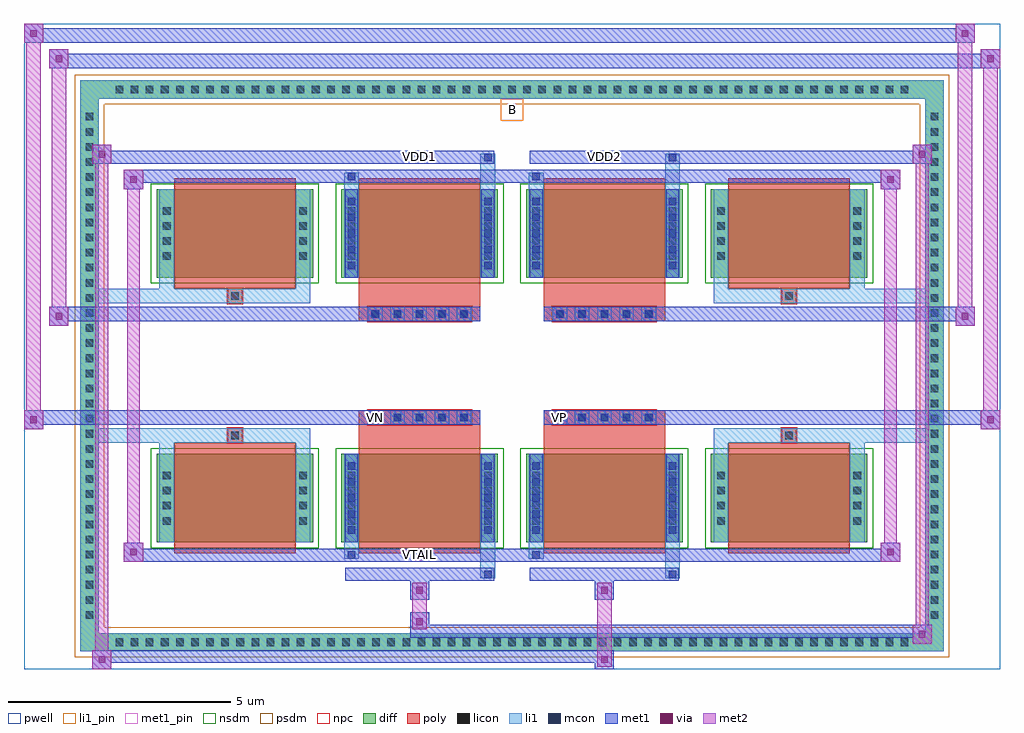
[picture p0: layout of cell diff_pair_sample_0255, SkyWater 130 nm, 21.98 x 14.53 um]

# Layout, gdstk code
import gdstk
lib = gdstk.Library(unit=1e-6, precision=5e-09)
def R(c, l, rs):  # rectangles x0, y0, x1, y1
    for r in rs: c.add(gdstk.rectangle(r[:2], r[2:], *l))
def A(c, l, x, y, w, h, nx, ny, dx, dy):  # array of equal rectangles
    R(c, l, [(x+i*dx, y+j*dy, x+i*dx+w, y+j*dy+h) for i in range(nx) for j in range(ny)])
def P(c, l, *ps):  # polygons
    for p in ps: c.add(gdstk.Polygon(p, *l))
pwell = (64, 44)
diff = (65, 20)
poly = (66, 20)
licon = (66, 44)
li1_pin = (67, 16)
li1 = (67, 20)
mcon = (67, 44)
met1_pin = (68, 16)
met1 = (68, 20)
via = (68, 44)
met2 = (69, 20)
nsdm = (93, 44)
psdm = (94, 20)
npc = (95, 20)

diff_pair_sample_0255 = lib.new_cell('diff_pair_sample_0255')
R(diff_pair_sample_0255, pwell, [(-10.99,-6.83,10.99,7.7), (-8.31,-5.02,-0.01,-0.8), (0.01,-5.02,8.31,-0.8), (-8.31,0.8,-0.01,5.02), (0.01,0.8,8.31,5.02)])
A(diff_pair_sample_0255, diff, -9.045, -6.43, 0.41, 0.41, 53, 2, 0.34, 12.45)
A(diff_pair_sample_0255, diff, -9.72, -5.815, 0.41, 0.41, 1, 34, 0, 0.34)
A(diff_pair_sample_0255, diff, 9.31, -5.815, 0.41, 0.41, 1, 34, 0, 0.34)
A(diff_pair_sample_0255, diff, -8, -3.975, 3.52, 1.99, 4, 2, 4.16, 5.96)
R(diff_pair_sample_0255, diff, [(-9.045,-6.43,9.045,-6.02), (-9.72,-5.815,-9.31,5.815), (9.31,-5.815,9.72,5.815), (-9.045,6.02,9.045,6.43)])
P(diff_pair_sample_0255, diff, [(9.72,6.43),(-9.72,6.43),(-9.72,-6.02),(-9.31,-6.02),(-9.31,6.02),(9.31,6.02),(9.31,-6.02),(-9.31,-6.02),(-9.72,-6.02),(-9.72,-6.43),(9.72,-6.43)])
A(diff_pair_sample_0255, poly, -7.61, -4.225, 2.74, 2.49, 4, 2, 4.16, 5.96)
A(diff_pair_sample_0255, poly, -3.245, -1.33, 0.33, 0.33, 5, 2, 0.5, 2.33)
A(diff_pair_sample_0255, poly, 0.915, -1.33, 0.33, 0.33, 5, 2, 0.5, 2.33)
R(diff_pair_sample_0255, poly, [(-6.405,-1.735,-6.075,-1.405), (-6.405,-1.735,-6.075,-1.405), (-3.45,-1.735,-0.71,-1.33), (0.71,-1.735,3.45,-1.33), (6.075,-1.735,6.405,-1.405), (6.075,-1.735,6.405,-1.405), (-3.45,-1.33,-0.71,-1), (0.71,-1.33,3.45,-1), (-3.45,1,-0.71,1.33), (0.71,1,3.45,1.33), (-3.45,1.33,-0.71,1.735), (0.71,1.33,3.45,1.735), (-6.405,1.405,-6.075,1.735), (-6.405,1.405,-6.075,1.735), (6.075,1.405,6.405,1.735), (6.075,1.405,6.405,1.735)])
A(diff_pair_sample_0255, licon, -8.925, -6.31, 0.17, 0.17, 53, 2, 0.34, 12.45)
A(diff_pair_sample_0255, licon, -9.6, -5.695, 0.17, 0.17, 1, 34, 0, 0.34)
A(diff_pair_sample_0255, licon, 9.43, -5.695, 0.17, 0.17, 1, 34, 0, 0.34)
A(diff_pair_sample_0255, licon, -7.86, -3.575, 0.17, 0.17, 1, 4, 0, 0.34)
A(diff_pair_sample_0255, licon, -4.79, -3.575, 0.17, 0.17, 1, 4, 0, 0.34)
A(diff_pair_sample_0255, licon, -3.7, -3.575, 0.17, 0.17, 1, 4, 0, 0.34)
A(diff_pair_sample_0255, licon, -0.63, -3.575, 0.17, 0.17, 1, 4, 0, 0.34)
A(diff_pair_sample_0255, licon, 0.46, -3.575, 0.17, 0.17, 1, 4, 0, 0.34)
A(diff_pair_sample_0255, licon, 3.53, -3.575, 0.17, 0.17, 1, 4, 0, 0.34)
A(diff_pair_sample_0255, licon, 4.62, -3.575, 0.17, 0.17, 1, 4, 0, 0.34)
A(diff_pair_sample_0255, licon, 7.69, -3.575, 0.17, 0.17, 1, 4, 0, 0.34)
A(diff_pair_sample_0255, licon, -3.165, -1.25, 0.17, 0.17, 5, 2, 0.5, 2.33)
A(diff_pair_sample_0255, licon, 0.995, -1.25, 0.17, 0.17, 5, 2, 0.5, 2.33)
A(diff_pair_sample_0255, licon, -7.86, 2.385, 0.17, 0.17, 1, 4, 0, 0.34)
A(diff_pair_sample_0255, licon, -4.79, 2.385, 0.17, 0.17, 1, 4, 0, 0.34)
A(diff_pair_sample_0255, licon, -3.7, 2.385, 0.17, 0.17, 1, 4, 0, 0.34)
A(diff_pair_sample_0255, licon, -0.63, 2.385, 0.17, 0.17, 1, 4, 0, 0.34)
A(diff_pair_sample_0255, licon, 0.46, 2.385, 0.17, 0.17, 1, 4, 0, 0.34)
A(diff_pair_sample_0255, licon, 3.53, 2.385, 0.17, 0.17, 1, 4, 0, 0.34)
A(diff_pair_sample_0255, licon, 4.62, 2.385, 0.17, 0.17, 1, 4, 0, 0.34)
A(diff_pair_sample_0255, licon, 7.69, 2.385, 0.17, 0.17, 1, 4, 0, 0.34)
R(diff_pair_sample_0255, licon, [(-6.325,-1.655,-6.155,-1.485), (6.155,-1.655,6.325,-1.485), (-6.325,1.485,-6.155,1.655), (6.155,1.485,6.325,1.655)])
R(diff_pair_sample_0255, li1_pin, [(-0.25,5.52,0.25,6.02)])
A(diff_pair_sample_0255, li1, -9.005, -6.39, 0.33, 0.33, 53, 2, 0.34, 12.45)
A(diff_pair_sample_0255, li1, -9.68, -5.775, 0.33, 0.33, 1, 34, 0, 0.34)
A(diff_pair_sample_0255, li1, 9.35, -5.775, 0.33, 0.33, 1, 34, 0, 0.34)
A(diff_pair_sample_0255, li1, -3.7, -3.785, 0.17, 0.17, 1, 5, 0, 0.36)
A(diff_pair_sample_0255, li1, -0.63, -3.785, 0.17, 0.17, 1, 5, 0, 0.36)
A(diff_pair_sample_0255, li1, 0.46, -3.785, 0.17, 0.17, 1, 5, 0, 0.36)
A(diff_pair_sample_0255, li1, 3.53, -3.785, 0.17, 0.17, 1, 5, 0, 0.36)
A(diff_pair_sample_0255, li1, -7.94, -3.655, 0.33, 0.33, 1, 4, 0, 0.34)
A(diff_pair_sample_0255, li1, -4.87, -3.655, 0.33, 0.33, 1, 4, 0, 0.34)
A(diff_pair_sample_0255, li1, -3.78, -3.655, 0.33, 0.33, 1, 4, 0, 0.34)
A(diff_pair_sample_0255, li1, -0.71, -3.655, 0.33, 0.33, 1, 4, 0, 0.34)
A(diff_pair_sample_0255, li1, 0.38, -3.655, 0.33, 0.33, 1, 4, 0, 0.34)
A(diff_pair_sample_0255, li1, 3.45, -3.655, 0.33, 0.33, 1, 4, 0, 0.34)
A(diff_pair_sample_0255, li1, 4.54, -3.655, 0.33, 0.33, 1, 4, 0, 0.34)
A(diff_pair_sample_0255, li1, 7.61, -3.655, 0.33, 0.33, 1, 4, 0, 0.34)
A(diff_pair_sample_0255, li1, -3.245, -1.33, 0.33, 0.33, 5, 2, 0.5, 2.33)
A(diff_pair_sample_0255, li1, 0.915, -1.33, 0.33, 0.33, 5, 2, 0.5, 2.33)
A(diff_pair_sample_0255, li1, -3.7, 2.175, 0.17, 0.17, 1, 5, 0, 0.36)
A(diff_pair_sample_0255, li1, -0.63, 2.175, 0.17, 0.17, 1, 5, 0, 0.36)
A(diff_pair_sample_0255, li1, 0.46, 2.175, 0.17, 0.17, 1, 5, 0, 0.36)
A(diff_pair_sample_0255, li1, 3.53, 2.175, 0.17, 0.17, 1, 5, 0, 0.36)
A(diff_pair_sample_0255, li1, -7.94, 2.305, 0.33, 0.33, 1, 4, 0, 0.34)
A(diff_pair_sample_0255, li1, -4.87, 2.305, 0.33, 0.33, 1, 4, 0, 0.34)
A(diff_pair_sample_0255, li1, -3.78, 2.305, 0.33, 0.33, 1, 4, 0, 0.34)
A(diff_pair_sample_0255, li1, -0.71, 2.305, 0.33, 0.33, 1, 4, 0, 0.34)
A(diff_pair_sample_0255, li1, 0.38, 2.305, 0.33, 0.33, 1, 4, 0, 0.34)
A(diff_pair_sample_0255, li1, 3.45, 2.305, 0.33, 0.33, 1, 4, 0, 0.34)
A(diff_pair_sample_0255, li1, 4.54, 2.305, 0.33, 0.33, 1, 4, 0, 0.34)
A(diff_pair_sample_0255, li1, 7.61, 2.305, 0.33, 0.33, 1, 4, 0, 0.34)
R(diff_pair_sample_0255, li1, [(-9.72,-6.43,-9.31,-6.02), (-9.72,-6.43,-9.31,-6.02), (-9.31,-6.43,9.31,-6.02), (9.31,-6.43,9.72,-6.02), (9.31,-6.43,9.72,-6.02), (-9.72,-6.02,-9.31,6.02), (9.31,-6.02,9.72,6.02), (-0.71,-4.78,-0.38,-3.975), (-0.63,-4.78,-0.46,-4.61), (3.45,-4.78,3.78,-3.975), (3.53,-4.78,3.7,-4.61), (-3.78,-4.35,-3.45,-3.975), (-3.7,-4.35,-3.53,-4.18), (0.38,-4.35,0.71,-3.975), (0.46,-4.35,0.63,-4.18), (-7.94,-3.975,-7.61,-1.985), (-4.87,-3.975,-4.54,-1.985), (-3.78,-3.975,-3.45,-1.985), (-0.71,-3.975,-0.38,-1.985), (0.38,-3.975,0.71,-1.985), (3.45,-3.975,3.78,-1.985), (4.54,-3.975,4.87,-1.985), (7.61,-3.975,7.94,-1.985), (-3.7,-3.785,-3.53,-2.175), (-0.63,-3.785,-0.46,-2.175), (0.46,-3.785,0.63,-2.175), (3.53,-3.785,3.7,-2.175), (-7.94,-1.985,-7.61,-1.405), (-4.87,-1.985,-4.54,-1.405), (4.54,-1.985,4.87,-1.405), (7.61,-1.985,7.94,-1.405), (-9.72,-1.735,-6.405,-1.405), (-7.94,-1.735,-6.405,-1.405), (-6.405,-1.735,-6.075,-1.405), (-6.075,-1.735,-4.54,-1.405), (4.54,-1.735,6.075,-1.405), (6.075,-1.735,6.405,-1.405), (6.075,-1.735,9.72,-1.405), (6.405,-1.735,7.94,-1.405), (-9.72,1.405,-6.405,1.735), (-7.94,1.405,-6.405,1.735), (-7.94,1.405,-7.61,1.985), (-6.405,1.405,-6.075,1.735), (-6.075,1.405,-4.54,1.735), (-4.87,1.405,-4.54,1.985), (4.54,1.405,6.075,1.735), (4.54,1.405,4.87,1.985), (6.075,1.405,6.405,1.735), (6.075,1.405,9.72,1.735), (6.405,1.405,7.94,1.735), (7.61,1.405,7.94,1.985), (-7.94,1.985,-7.61,3.975), (-4.87,1.985,-4.54,3.975), (-3.78,1.985,-3.45,3.975), (-0.71,1.985,-0.38,3.975), (0.38,1.985,0.71,3.975), (3.45,1.985,3.78,3.975), (4.54,1.985,4.87,3.975), (7.61,1.985,7.94,3.975), (-3.7,2.175,-3.53,3.785), (-0.63,2.175,-0.46,3.785), (0.46,2.175,0.63,3.785), (3.53,2.175,3.7,3.785), (-3.78,3.975,-3.45,4.35), (-0.71,3.975,-0.38,4.78), (0.38,3.975,0.71,4.35), (3.45,3.975,3.78,4.78), (-3.7,4.18,-3.53,4.35), (0.46,4.18,0.63,4.35), (-0.63,4.61,-0.46,4.78), (3.53,4.61,3.7,4.78), (-9.72,6.02,-9.31,6.43), (-9.72,6.02,-9.31,6.43), (-9.31,6.02,9.31,6.43), (9.31,6.02,9.72,6.43), (9.31,6.02,9.72,6.43)])
A(diff_pair_sample_0255, mcon, -3.7, -3.785, 0.17, 0.17, 1, 5, 0, 0.36)
A(diff_pair_sample_0255, mcon, -0.63, -3.785, 0.17, 0.17, 1, 5, 0, 0.36)
A(diff_pair_sample_0255, mcon, 0.46, -3.785, 0.17, 0.17, 1, 5, 0, 0.36)
A(diff_pair_sample_0255, mcon, 3.53, -3.785, 0.17, 0.17, 1, 5, 0, 0.36)
A(diff_pair_sample_0255, mcon, -3.165, -1.25, 0.17, 0.17, 5, 2, 0.5, 2.33)
A(diff_pair_sample_0255, mcon, 0.995, -1.25, 0.17, 0.17, 5, 2, 0.5, 2.33)
A(diff_pair_sample_0255, mcon, -3.7, 2.175, 0.17, 0.17, 1, 5, 0, 0.36)
A(diff_pair_sample_0255, mcon, -0.63, 2.175, 0.17, 0.17, 1, 5, 0, 0.36)
A(diff_pair_sample_0255, mcon, 0.46, 2.175, 0.17, 0.17, 1, 5, 0, 0.36)
A(diff_pair_sample_0255, mcon, 3.53, 2.175, 0.17, 0.17, 1, 5, 0, 0.36)
R(diff_pair_sample_0255, mcon, [(-0.63,-4.78,-0.46,-4.61), (3.53,-4.78,3.7,-4.61), (-3.7,-4.35,-3.53,-4.18), (0.46,-4.35,0.63,-4.18), (-3.7,4.18,-3.53,4.35), (0.46,4.18,0.63,4.35), (-0.63,4.61,-0.46,4.78), (3.53,4.61,3.7,4.78)])
R(diff_pair_sample_0255, met1_pin, [(-2.215,-4.39,-1.945,-4.12), (-3.215,-1.29,-2.945,-1.02), (0.945,-1.29,1.215,-1.02), (-2.215,4.57,-1.945,4.84), (1.945,4.57,2.215,4.84)])
A(diff_pair_sample_0255, met1, -3.76, -3.845, 0.29, 0.29, 1, 5, 0, 0.36)
A(diff_pair_sample_0255, met1, -0.69, -3.845, 0.29, 0.29, 1, 5, 0, 0.36)
A(diff_pair_sample_0255, met1, 0.4, -3.845, 0.29, 0.29, 1, 5, 0, 0.36)
A(diff_pair_sample_0255, met1, 3.47, -3.845, 0.29, 0.29, 1, 5, 0, 0.36)
A(diff_pair_sample_0255, met1, -3.225, -1.31, 0.29, 0.29, 5, 2, 0.5, 2.33)
A(diff_pair_sample_0255, met1, 0.935, -1.31, 0.29, 0.29, 5, 2, 0.5, 2.33)
A(diff_pair_sample_0255, met1, -3.76, 2.115, 0.29, 0.29, 1, 5, 0, 0.36)
A(diff_pair_sample_0255, met1, -0.69, 2.115, 0.29, 0.29, 1, 5, 0, 0.36)
A(diff_pair_sample_0255, met1, 0.4, 2.115, 0.29, 0.29, 1, 5, 0, 0.36)
A(diff_pair_sample_0255, met1, 3.47, 2.115, 0.29, 0.29, 1, 5, 0, 0.36)
R(diff_pair_sample_0255, met1, [(-9.45,-6.83,-9.02,-6.4), (1.865,-6.83,2.295,-6.4), (-9.45,-6.69,2.295,-6.4), (9.02,-6.26,9.45,-5.83), (-2.295,-6.12,9.45,-5.83), (-2.295,-5.98,-1.865,-5.55), (-2.295,-5.27,-1.865,-4.84), (1.865,-5.27,2.295,-4.84), (-3.76,-4.84,-0.4,-4.55), (-0.69,-4.84,-0.4,-4.55), (0.4,-4.84,3.76,-4.55), (3.47,-4.84,3.76,-4.55), (-8.74,-4.41,-8.31,-3.98), (-8.74,-4.41,-3.76,-4.12), (-3.76,-4.41,-3.47,-4.12), (-3.76,-4.41,-0.4,-4.12), (-0.4,-4.41,0.4,-4.12), (0.4,-4.41,0.69,-4.12), (0.4,-4.41,3.76,-4.12), (3.76,-4.41,8.74,-4.12), (8.31,-4.41,8.74,-3.98), (-3.76,-3.975,-3.47,-1.985), (-0.69,-3.975,-0.4,-1.985), (0.4,-3.975,0.69,-1.985), (3.47,-3.975,3.76,-1.985), (-10.99,-1.43,-10.56,-1), (10.56,-1.43,10.99,-1), (-10.99,-1.33,-0.71,-1), (-3.45,-1.33,-0.71,-1), (0.71,-1.33,3.45,-1), (0.71,-1.33,10.99,-1), (-10.42,0.9,-9.99,1.33), (9.99,0.9,10.42,1.33), (-10.42,1,-3.45,1.33), (-3.45,1,-0.71,1.33), (0.71,1,3.45,1.33), (3.45,1,10.42,1.33), (-3.76,1.985,-3.47,3.975), (-0.69,1.985,-0.4,3.975), (0.4,1.985,0.69,3.975), (3.47,1.985,3.76,3.975), (-8.74,3.98,-8.31,4.41), (8.31,3.98,8.74,4.41), (-8.74,4.12,-3.76,4.41), (-3.76,4.12,-3.47,4.41), (-3.76,4.12,-0.4,4.41), (-0.4,4.12,0.4,4.41), (0.4,4.12,0.69,4.41), (0.4,4.12,3.76,4.41), (3.76,4.12,8.74,4.41), (-9.45,4.55,-9.02,4.98), (-9.45,4.55,-3.76,4.84), (-3.76,4.55,-0.4,4.84), (-0.69,4.55,-0.4,4.84), (0.4,4.55,3.76,4.84), (3.47,4.55,3.76,4.84), (3.76,4.55,9.45,4.84), (9.02,4.55,9.45,4.98), (-10.42,6.7,-9.99,7.13), (-10.42,6.7,-8.31,7.03), (-8.31,6.7,8.31,7.03), (8.31,6.7,10.99,7.03), (10.56,6.7,10.99,7.13), (-10.99,7.27,-10.56,7.7), (-10.99,7.27,-8.31,7.6), (-8.31,7.27,8.31,7.6), (8.31,7.27,10.42,7.6), (9.99,7.27,10.42,7.7)])
R(diff_pair_sample_0255, via, [(-9.31,-6.69,-9.16,-6.54), (2.005,-6.69,2.155,-6.54), (9.16,-6.12,9.31,-5.97), (-2.155,-5.84,-2.005,-5.69), (-2.155,-5.13,-2.005,-4.98), (2.005,-5.13,2.155,-4.98), (-8.6,-4.27,-8.45,-4.12), (8.45,-4.27,8.6,-4.12), (-10.85,-1.29,-10.7,-1.14), (10.7,-1.29,10.85,-1.14), (-10.28,1.04,-10.13,1.19), (10.13,1.04,10.28,1.19), (-8.6,4.12,-8.45,4.27), (8.45,4.12,8.6,4.27), (-9.31,4.69,-9.16,4.84), (9.16,4.69,9.31,4.84), (-10.28,6.84,-10.13,6.99), (10.7,6.84,10.85,6.99), (-10.85,7.41,-10.7,7.56), (10.13,7.41,10.28,7.56)])
R(diff_pair_sample_0255, met2, [(-9.45,-6.83,-9.02,-6.4), (-9.38,-6.83,-9.09,4.98), (-9.09,-6.83,-9.02,-6.4), (-9.4,-6.78,-9.07,-6.45), (1.915,-6.78,2.245,-6.45), (1.915,-6.45,2.245,-5.22), (9.02,-6.26,9.45,-5.83), (9.09,-6.26,9.38,4.98), (9.38,-6.26,9.45,-5.83), (9.07,-6.21,9.4,-5.88), (-2.245,-5.93,-1.915,-5.6), (-2.245,-5.6,-1.915,-5.22), (-2.245,-5.22,-1.915,-4.89), (1.915,-5.22,2.245,-4.89), (-8.74,-4.41,-8.31,-3.98), (-8.67,-4.41,-8.38,4.41), (-8.38,-4.41,-8.31,-3.98), (8.31,-4.41,8.74,-3.98), (8.38,-4.41,8.67,4.41), (8.67,-4.41,8.74,-3.98), (-8.69,-4.36,-8.36,-4.03), (8.36,-4.36,8.69,-4.03), (-10.99,-1.43,-10.56,-1), (-10.94,-1.43,-10.61,7.7), (-10.61,-1.43,-10.56,-1), (10.56,-1.43,10.99,-1), (10.61,-1.43,10.94,7.13), (10.94,-1.43,10.99,-1), (-10.94,-1.38,-10.61,-1.05), (10.61,-1.38,10.94,-1.05), (-10.42,0.9,-9.99,1.33), (-10.37,0.9,-10.04,7.13), (-10.04,0.9,-9.99,1.33), (9.99,0.9,10.42,1.33), (10.04,0.9,10.37,7.7), (10.37,0.9,10.42,1.33), (-10.37,0.95,-10.04,1.28), (10.04,0.95,10.37,1.28), (-8.74,3.98,-8.31,4.41), (-8.38,3.98,-8.31,4.41), (8.31,3.98,8.74,4.41), (8.67,3.98,8.74,4.41), (-8.69,4.03,-8.36,4.36), (8.36,4.03,8.69,4.36), (-9.45,4.55,-9.02,4.98), (-9.09,4.55,-9.02,4.98), (9.02,4.55,9.45,4.98), (9.38,4.55,9.45,4.98), (-9.4,4.6,-9.07,4.93), (9.07,4.6,9.4,4.93), (-10.42,6.7,-9.99,7.13), (-10.04,6.7,-9.99,7.13), (10.56,6.7,10.99,7.13), (10.94,6.7,10.99,7.13), (-10.37,6.75,-10.04,7.08), (10.61,6.75,10.94,7.08), (-10.99,7.27,-10.56,7.7), (-10.61,7.27,-10.56,7.7), (9.99,7.27,10.42,7.7), (10.37,7.27,10.42,7.7), (-10.94,7.32,-10.61,7.65), (10.04,7.32,10.37,7.65)])
A(diff_pair_sample_0255, nsdm, -8.13, -4.105, 3.78, 2.25, 4, 2, 4.16, 5.96)
P(diff_pair_sample_0255, psdm, [(9.85,6.56),(-9.85,6.56),(-9.85,-5.89),(-9.18,-5.89),(-9.18,5.89),(9.18,5.89),(9.18,-5.89),(-9.18,-5.89),(-9.85,-5.89),(-9.85,-6.56),(9.85,-6.56)])
A(diff_pair_sample_0255, npc, -3.265, -1.35, 0.37, 0.37, 5, 2, 0.5, 2.33)
A(diff_pair_sample_0255, npc, 0.895, -1.35, 0.37, 0.37, 5, 2, 0.5, 2.33)
R(diff_pair_sample_0255, npc, [(-6.425,-1.755,-6.055,-1.385), (6.055,-1.755,6.425,-1.385), (-3.265,-1.35,-2.395,-0.98), (-3.265,-1.35,-2.395,-0.98), (-2.765,-1.35,-1.895,-0.98), (-2.765,-1.35,-1.895,-0.98), (-2.265,-1.35,-1.395,-0.98), (-2.265,-1.35,-1.395,-0.98), (-1.765,-1.35,-0.895,-0.98), (-1.765,-1.35,-0.895,-0.98), (0.895,-1.35,1.765,-0.98), (0.895,-1.35,1.765,-0.98), (1.395,-1.35,2.265,-0.98), (1.395,-1.35,2.265,-0.98), (1.895,-1.35,2.765,-0.98), (1.895,-1.35,2.765,-0.98), (2.395,-1.35,3.265,-0.98), (2.395,-1.35,3.265,-0.98), (-3.265,0.98,-2.395,1.35), (-3.265,0.98,-2.395,1.35), (-2.765,0.98,-1.895,1.35), (-2.765,0.98,-1.895,1.35), (-2.265,0.98,-1.395,1.35), (-2.265,0.98,-1.395,1.35), (-1.765,0.98,-0.895,1.35), (-1.765,0.98,-0.895,1.35), (0.895,0.98,1.765,1.35), (0.895,0.98,1.765,1.35), (1.395,0.98,2.265,1.35), (1.395,0.98,2.265,1.35), (1.895,0.98,2.765,1.35), (1.895,0.98,2.765,1.35), (2.395,0.98,3.265,1.35), (2.395,0.98,3.265,1.35), (-6.425,1.385,-6.055,1.755), (6.055,1.385,6.425,1.755)])
diff_pair_sample_0255.add(gdstk.Label('VTAIL', (-2.08,-4.255), layer=68, texttype=5))
diff_pair_sample_0255.add(gdstk.Label('VN', (-3.08,-1.155), layer=68, texttype=5))
diff_pair_sample_0255.add(gdstk.Label('VP', (1.08,-1.155), layer=68, texttype=5))
diff_pair_sample_0255.add(gdstk.Label('B', (0,5.77), layer=67, texttype=5))
diff_pair_sample_0255.add(gdstk.Label('VDD2', (2.08,4.705), layer=68, texttype=5))
diff_pair_sample_0255.add(gdstk.Label('VDD1', (-2.08,4.705), layer=68, texttype=5))

lib.write_gds('diff_pair_sample_0255.gds')
